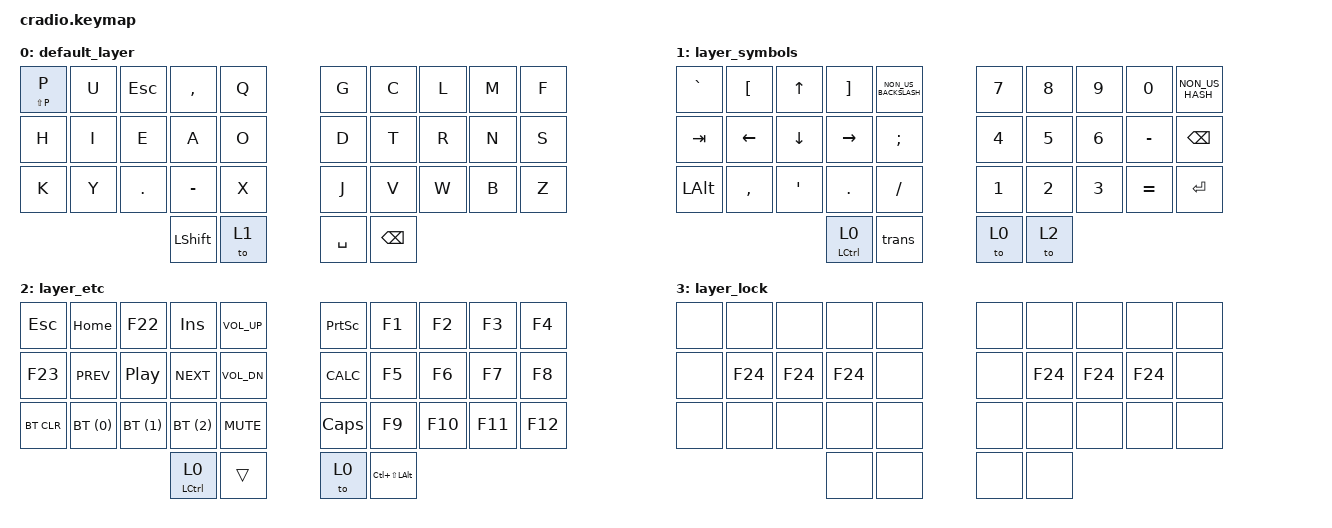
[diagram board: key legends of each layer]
/*
 * Copyright (c) 2020 The ZMK Contributors
 * goat
 * SPDX-License-Identifier: MIT
 */

#include <behaviors.dtsi>
#include <dt-bindings/zmk/keys.h>
#include <dt-bindings/zmk/bt.h>


&mt {
    flavor = "tap-preferred";
    tapping_term_ms = <200>;
};

/ { 
    behaviors {
        //mod kp when u hold, and to layer when you tap
        mtt:mod_tap_to {
            compatible = "zmk,behavior-hold-tap";
            label = "MOD_TAP_TO";
            #binding-cells = <2>;
            flavor = "balanced";
            tapping-term-ms = <200>;
            quick-tap-ms = <0>;
            bindings = <&kp>, <&to>;
        };
        //momentary layer on hold, and to layer on tap
        mlt:momentary_layer_tap_to {
            compatible = "zmk,behavior-hold-tap";
            label="MOMENTARY_LAYER_TAP_TO";
            #binding-cells = <2>;
            flavor = "balanced";
            tapping-term-ms = <200>;
            quick-tap-ms = <0>;
            bindings = <&mo>, <&to>;
        };
        // tap and 
        as: autoshift {
            compatible = "zmk,behavior-hold-tap";
            label = "HOMEROW_MODS";
            #binding-cells = <2>;
            tapping-term-ms = <200>;
            quick_tap_ms = <0>;
            flavor = "tap-preferred";
            bindings = <&kp>, <&kp>;
        };
    };

    combos {
        compatible = "zmk,combos";

        combo_unlock {
            timeout-ms = <50>;
            key-positions = <11 12 13 16 17 18>;
            layers = <3>;
            bindings = <&to 0>;
        };

        combo_lock {
            timeout-ms = <50>;
            key-positions = <2 10>;
            layers = <2>;
            bindings = <&to 3>;
        };
    };

        keymap {
                compatible = "zmk,keymap";
                
       		default_layer {
		bindings = <
            &as LS(P) P &kp U &kp ESC &kp COMMA &kp Q &kp G &kp C  &kp L    &kp M   &kp F 
            &kp H &kp I &kp E &kp A &kp O 			  &kp D &kp T &kp R &kp N &kp S
            &kp K &kp Y &kp DOT &kp MINUS &kp X		  &kp J &kp V  &kp W &kp B &kp Z
                            &kp LSHIFT  &to 1    &kp SPC &kp BSPC
            >; 
		};

       	layer_symbols {
            bindings = <
            &kp GRAVE &kp LBKT  &kp UP   &kp RBKT     &kp NON_US_BACKSLASH        &kp N7    &kp N8 &kp N9 &kp N0    &kp NON_US_HASH
            &kp TAB   &kp LEFT  &kp DOWN &kp RIGHT    &kp SEMI                    &kp N4    &kp N5 &kp N6 &kp MINUS &kp BACKSPACE 
            &kp LALT  &kp COMMA &kp APOS &kp PERIOD   &kp FSLH                    &kp N1    &kp N2 &kp N3 &kp EQUAL  &kp ENTER 
                &mtt LCTRL 0 &kp trans                   &to 0 &to 2
            >;
		};	
		
		layer_etc {
            bindings = <
            &kp ESC     &kp HOME      &kp F22       &kp INS       &kp C_VOL_UP        &kp PRINTSCREEN &kp F1 &kp F2  &kp F3  &kp F4
            &kp F23     &kp C_PREV    &kp C_PP      &kp C_NEXT    &kp C_VOL_DN        &kp K_CALC      &kp F5 &kp F6  &kp F7  &kp F8 
            &bt BT_CLR  &bt BT_SEL(0) &bt BT_SEL(1) &bt BT_SEL(2) &kp C_MUTE          &kp CAPS        &kp F9 &kp F10 &kp F11 &kp F12   
                &mtt LCTRL 0  &trans  		  &to 0       &kp LC(LS(LALT))
            >;
		};	
        
        layer_lock {
            bindings = <
            &none &none   &none   &none   &none        &none &none   &none   &none   &none
            &none &kp F24 &kp F24 &kp F24 &none        &none &kp F24 &kp F24 &kp F24 &none 
            &none &none   &none   &none   &none        &none &none   &none   &none   &none    
                                  &none   &none        &none &none
            >;
		};	
        
	};
};
